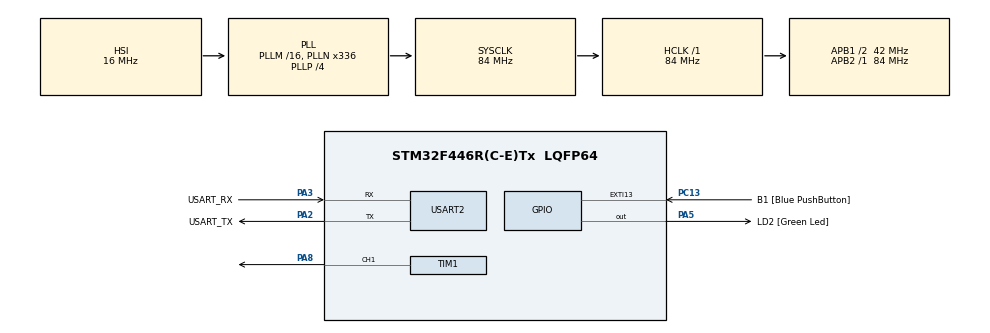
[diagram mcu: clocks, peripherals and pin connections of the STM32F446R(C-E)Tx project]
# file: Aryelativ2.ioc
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Mcu.Family=STM32F4
Mcu.Name=STM32F446R(C-E)Tx
Mcu.Package=LQFP64
NVIC.PriorityGroup=NVIC_PRIORITYGROUP_0
NVIC.TIM2_IRQn=true\:0\:0\:false\:false\:true\:true\:true\:true
PA13.GPIO_Label=TMS
PA13.Mode=Serial_Wire
PA13.Signal=SYS_JTMS-SWDIO
PA14.GPIO_Label=TCK
PA14.Mode=Serial_Wire
PA14.Signal=SYS_JTCK-SWCLK
PA2.GPIO_Label=USART_TX
PA2.Mode=Asynchronous
PA2.Signal=USART2_TX
PA3.GPIO_Label=USART_RX
PA3.Mode=Asynchronous
PA3.Signal=USART2_RX
PA5.GPIO_Label=LD2 [Green Led]
PA5.Signal=GPIO_Output
PA8.Signal=S_TIM1_CH1
PB3.GPIO_Label=SWO
PB3.Signal=SYS_JTDO-SWO
PC13.GPIO_Label=B1 [Blue PushButton]
PC13.GPIO_ModeDefaultEXTI=GPIO_MODE_IT_FALLING
PC13.Signal=GPXTI13
PC14-OSC32_IN.Mode=LSE-External-Oscillator
PC14-OSC32_IN.Signal=RCC_OSC32_IN
PC15-OSC32_OUT.Mode=LSE-External-Oscillator
PC15-OSC32_OUT.Signal=RCC_OSC32_OUT
PH0-OSC_IN.Mode=HSE-External-Oscillator
PH0-OSC_IN.Signal=RCC_OSC_IN
PH1-OSC_OUT.Mode=HSE-External-Oscillator
PH1-OSC_OUT.Signal=RCC_OSC_OUT
ProjectManager.HeapSize=0x200
ProjectManager.StackSize=0x400
ProjectManager.TargetToolchain=STM32CubeIDE
RCC.48MHZClocksFreq_Value=84000000
RCC.AHBFreq_Value=84000000
RCC.APB1CLKDivider=RCC_HCLK_DIV2
RCC.APB1Freq_Value=42000000
RCC.APB1TimFreq_Value=84000000
RCC.APB2Freq_Value=84000000
RCC.APB2TimFreq_Value=84000000
RCC.CortexFreq_Value=84000000
RCC.FLatency-AdvancedSettings=FLASH_LATENCY_2
RCC.HCLKFreq_Value=84000000
RCC.HSE_VALUE=8000000
RCC.HSI_VALUE=16000000
RCC.PLLN=336
RCC.PLLP=RCC_PLLP_DIV4
RCC.SYSCLKFreq_VALUE=84000000
RCC.SYSCLKSource=RCC_SYSCLKSOURCE_PLLCLK
RCC.USBFreq_Value=168000000
RCC.VCOOutputFreq_Value=336000000
SH.S_TIM1_CH1.0=TIM1_CH1,PWM Generation1 CH1
TIM1.Channel-PWM\ Generation1\ CH1=TIM_CHANNEL_1
TIM1.Period=999
TIM2.Period=9
TIM2.Prescaler=8399
USART2.VirtualMode=VM_ASYNC
VP_TIM1_VS_ClockSourceINT.Mode=Internal
VP_TIM2_VS_ClockSourceINT.Mode=Internal
board=NUCLEO-F446RE

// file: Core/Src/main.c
/* USER CODE BEGIN Header */
/**
  ******************************************************************************
  * @file           : main.c
  * @brief          : Main program body
  ******************************************************************************
  * @attention
  *
  * Copyright (c) 2026 STMicroelectronics.
  * All rights reserved.
  *
  * This software is licensed under terms that can be found in the LICENSE file
  * in the root directory of this software component.
  * If no LICENSE file comes with this software, it is provided AS-IS.
  *
  ******************************************************************************
  */
/* USER CODE END Header */
#include "main.h"

/* USER CODE BEGIN Includes */
#include <math.h>
#include <stdlib.h>
#include <string.h>
/* USER CODE END Includes */

TIM_HandleTypeDef htim1;
TIM_HandleTypeDef htim2;

UART_HandleTypeDef huart2;

/* USER CODE BEGIN PV */

#define SAMPLES 100

uint16_t sine_table[SAMPLES];
uint16_t index_sine = 0;

uint32_t freq = 10;

char rx_buffer[10];
uint8_t rx_index = 0;

/* USER CODE END PV */

void SystemClock_Config(void);
static void MX_GPIO_Init(void);
static void MX_USART2_UART_Init(void);
static void MX_TIM1_Init(void);
static void MX_TIM2_Init(void);

/* USER CODE BEGIN 0 */

void generate_sine_table() {
    for(int i = 0; i < SAMPLES; i++) {
        float angle = (2 * M_PI * i) / SAMPLES;
        float sine = (sin(angle) + 1.0) / 2.0;
        sine_table[i] = (uint16_t)(sine * 999);
    }
}

void update_frequency(uint32_t new_freq) {

    uint32_t interrupt_freq = new_freq * SAMPLES;

    uint32_t timer_clock = 84000000;

    uint32_t prescaler = 8399;
    uint32_t period = (timer_clock / ((prescaler+1) * interrupt_freq)) - 1;

    __HAL_TIM_SET_AUTORELOAD(&htim2, period);
}

/* USER CODE END 0 */

int main(void)
{

  /* MCU Configuration--------------------------------------------------------*/

  /* Reset of all peripherals, Initializes the Flash interface and the Systick. */
  HAL_Init();

  /* Configure the system clock */
  SystemClock_Config();

  /* Initialize all configured peripherals */
  MX_GPIO_Init();
  MX_USART2_UART_Init();
  MX_TIM1_Init();
  MX_TIM2_Init();
  /* USER CODE BEGIN 2 */

  generate_sine_table();

  // inicia PWM
  HAL_TIM_PWM_Start(&htim1, TIM_CHANNEL_1);

  // inicia timer de interrupção
  HAL_TIM_Base_Start_IT(&htim2);

  // inicia UART com interrupção
  HAL_UART_Receive_IT(&huart2, (uint8_t*)&rx_buffer[rx_index], 1);

  /* USER CODE END 2 */

  /* Infinite loop */
  while (1)
  {

  }
}

void SystemClock_Config(void)
{
  RCC_OscInitTypeDef RCC_OscInitStruct = {0};
  RCC_ClkInitTypeDef RCC_ClkInitStruct = {0};

  /** Configure the main internal regulator output voltage
  */
  __HAL_RCC_PWR_CLK_ENABLE();
  __HAL_PWR_VOLTAGESCALING_CONFIG(PWR_REGULATOR_VOLTAGE_SCALE3);

  /** Initializes the RCC Oscillators according to the specified parameters
  * in the RCC_OscInitTypeDef structure.
  */
  RCC_OscInitStruct.OscillatorType = RCC_OSCILLATORTYPE_HSI;
  RCC_OscInitStruct.HSIState = RCC_HSI_ON;
  RCC_OscInitStruct.HSICalibrationValue = RCC_HSICALIBRATION_DEFAULT;
  RCC_OscInitStruct.PLL.PLLState = RCC_PLL_ON;
  RCC_OscInitStruct.PLL.PLLSource = RCC_PLLSOURCE_HSI;
  RCC_OscInitStruct.PLL.PLLM = 16;
  RCC_OscInitStruct.PLL.PLLN = 336;
  RCC_OscInitStruct.PLL.PLLP = RCC_PLLP_DIV4;
  RCC_OscInitStruct.PLL.PLLQ = 2;
  RCC_OscInitStruct.PLL.PLLR = 2;
  if (HAL_RCC_OscConfig(&RCC_OscInitStruct) != HAL_OK)
  {
    Error_Handler();
  }

  /** Initializes the CPU, AHB and APB buses clocks
  */
  RCC_ClkInitStruct.ClockType = RCC_CLOCKTYPE_HCLK|RCC_CLOCKTYPE_SYSCLK
                              |RCC_CLOCKTYPE_PCLK1|RCC_CLOCKTYPE_PCLK2;
  RCC_ClkInitStruct.SYSCLKSource = RCC_SYSCLKSOURCE_PLLCLK;
  RCC_ClkInitStruct.AHBCLKDivider = RCC_SYSCLK_DIV1;
  RCC_ClkInitStruct.APB1CLKDivider = RCC_HCLK_DIV2;
  RCC_ClkInitStruct.APB2CLKDivider = RCC_HCLK_DIV1;

  if (HAL_RCC_ClockConfig(&RCC_ClkInitStruct, FLASH_LATENCY_2) != HAL_OK)
  {
    Error_Handler();
  }
}

static void MX_TIM1_Init(void)
{

  TIM_ClockConfigTypeDef sClockSourceConfig = {0};
  TIM_MasterConfigTypeDef sMasterConfig = {0};
  TIM_OC_InitTypeDef sConfigOC = {0};
  TIM_BreakDeadTimeConfigTypeDef sBreakDeadTimeConfig = {0};

  htim1.Instance = TIM1;
  htim1.Init.Prescaler = 0;
  htim1.Init.CounterMode = TIM_COUNTERMODE_UP;
  htim1.Init.Period = 999;
  htim1.Init.ClockDivision = TIM_CLOCKDIVISION_DIV1;
  htim1.Init.RepetitionCounter = 0;
  htim1.Init.AutoReloadPreload = TIM_AUTORELOAD_PRELOAD_DISABLE;
  if (HAL_TIM_Base_Init(&htim1) != HAL_OK)
  {
    Error_Handler();
  }
  sClockSourceConfig.ClockSource = TIM_CLOCKSOURCE_INTERNAL;
  if (HAL_TIM_ConfigClockSource(&htim1, &sClockSourceConfig) != HAL_OK)
  {
    Error_Handler();
  }
  if (HAL_TIM_PWM_Init(&htim1) != HAL_OK)
  {
    Error_Handler();
  }
  sMasterConfig.MasterOutputTrigger = TIM_TRGO_RESET;
  sMasterConfig.MasterSlaveMode = TIM_MASTERSLAVEMODE_DISABLE;
  if (HAL_TIMEx_MasterConfigSynchronization(&htim1, &sMasterConfig) != HAL_OK)
  {
    Error_Handler();
  }
  sConfigOC.OCMode = TIM_OCMODE_PWM1;
  sConfigOC.Pulse = 0;
  sConfigOC.OCPolarity = TIM_OCPOLARITY_HIGH;
  sConfigOC.OCNPolarity = TIM_OCNPOLARITY_HIGH;
  sConfigOC.OCFastMode = TIM_OCFAST_DISABLE;
  sConfigOC.OCIdleState = TIM_OCIDLESTATE_RESET;
  sConfigOC.OCNIdleState = TIM_OCNIDLESTATE_RESET;
  if (HAL_TIM_PWM_ConfigChannel(&htim1, &sConfigOC, TIM_CHANNEL_1) != HAL_OK)
  {
    Error_Handler();
  }
  sBreakDeadTimeConfig.OffStateRunMode = TIM_OSSR_DISABLE;
  sBreakDeadTimeConfig.OffStateIDLEMode = TIM_OSSI_DISABLE;
  sBreakDeadTimeConfig.LockLevel = TIM_LOCKLEVEL_OFF;
  sBreakDeadTimeConfig.DeadTime = 0;
  sBreakDeadTimeConfig.BreakState = TIM_BREAK_DISABLE;
  sBreakDeadTimeConfig.BreakPolarity = TIM_BREAKPOLARITY_HIGH;
  sBreakDeadTimeConfig.AutomaticOutput = TIM_AUTOMATICOUTPUT_DISABLE;
  if (HAL_TIMEx_ConfigBreakDeadTime(&htim1, &sBreakDeadTimeConfig) != HAL_OK)
  {
    Error_Handler();
  }
  HAL_TIM_MspPostInit(&htim1);

}

static void MX_TIM2_Init(void)
{

  TIM_ClockConfigTypeDef sClockSourceConfig = {0};
  TIM_MasterConfigTypeDef sMasterConfig = {0};

  htim2.Instance = TIM2;
  htim2.Init.Prescaler = 8399;
  htim2.Init.CounterMode = TIM_COUNTERMODE_UP;
  htim2.Init.Period = 9;
  htim2.Init.ClockDivision = TIM_CLOCKDIVISION_DIV1;
  htim2.Init.AutoReloadPreload = TIM_AUTORELOAD_PRELOAD_DISABLE;
  if (HAL_TIM_Base_Init(&htim2) != HAL_OK)
  {
    Error_Handler();
  }
  sClockSourceConfig.ClockSource = TIM_CLOCKSOURCE_INTERNAL;
  if (HAL_TIM_ConfigClockSource(&htim2, &sClockSourceConfig) != HAL_OK)
  {
    Error_Handler();
  }
  sMasterConfig.MasterOutputTrigger = TIM_TRGO_RESET;
  sMasterConfig.MasterSlaveMode = TIM_MASTERSLAVEMODE_DISABLE;
  if (HAL_TIMEx_MasterConfigSynchronization(&htim2, &sMasterConfig) != HAL_OK)
  {
    Error_Handler();
  }

}

static void MX_USART2_UART_Init(void)
{

  huart2.Instance = USART2;
  huart2.Init.BaudRate = 115200;
  huart2.Init.WordLength = UART_WORDLENGTH_8B;
  huart2.Init.StopBits = UART_STOPBITS_1;
  huart2.Init.Parity = UART_PARITY_NONE;
  huart2.Init.Mode = UART_MODE_TX_RX;
  huart2.Init.HwFlowCtl = UART_HWCONTROL_NONE;
  huart2.Init.OverSampling = UART_OVERSAMPLING_16;
  if (HAL_UART_Init(&huart2) != HAL_OK)
  {
    Error_Handler();
  }

}

static void MX_GPIO_Init(void)
{
  GPIO_InitTypeDef GPIO_InitStruct = {0};

  /* GPIO Ports Clock Enable */
  __HAL_RCC_GPIOC_CLK_ENABLE();
  __HAL_RCC_GPIOH_CLK_ENABLE();
  __HAL_RCC_GPIOA_CLK_ENABLE();
  __HAL_RCC_GPIOB_CLK_ENABLE();

  /*Configure GPIO pin Output Level */
  HAL_GPIO_WritePin(LD2_GPIO_Port, LD2_Pin, GPIO_PIN_RESET);

  /*Configure GPIO pin : B1_Pin */
  GPIO_InitStruct.Pin = B1_Pin;
  GPIO_InitStruct.Mode = GPIO_MODE_IT_FALLING;
  GPIO_InitStruct.Pull = GPIO_NOPULL;
  HAL_GPIO_Init(B1_GPIO_Port, &GPIO_InitStruct);

  /*Configure GPIO pin : LD2_Pin */
  GPIO_InitStruct.Pin = LD2_Pin;
  GPIO_InitStruct.Mode = GPIO_MODE_OUTPUT_PP;
  GPIO_InitStruct.Pull = GPIO_NOPULL;
  GPIO_InitStruct.Speed = GPIO_SPEED_FREQ_LOW;
  HAL_GPIO_Init(LD2_GPIO_Port, &GPIO_InitStruct);

}

/* USER CODE BEGIN 4 */
void HAL_TIM_PeriodElapsedCallback(TIM_HandleTypeDef *htim) {
    if(htim->Instance == TIM2) {

        __HAL_TIM_SET_COMPARE(&htim1, TIM_CHANNEL_1, sine_table[index_sine]);

        index_sine++;
        if(index_sine >= SAMPLES)
            index_sine = 0;
    }
}

void HAL_UART_RxCpltCallback(UART_HandleTypeDef *huart) {
    if(huart->Instance == USART2) {

        if(rx_buffer[rx_index] == '\n') {

            rx_buffer[rx_index] = '\0';

            freq = atoi(rx_buffer);
            update_frequency(freq);

            rx_index = 0;

        } else {
            rx_index++;
        }

        HAL_UART_Receive_IT(&huart2, (uint8_t*)&rx_buffer[rx_index], 1);
    }
}
/* USER CODE END 4 */

void Error_Handler(void)
{
  __disable_irq();
  while (1)
  {
  }
}
